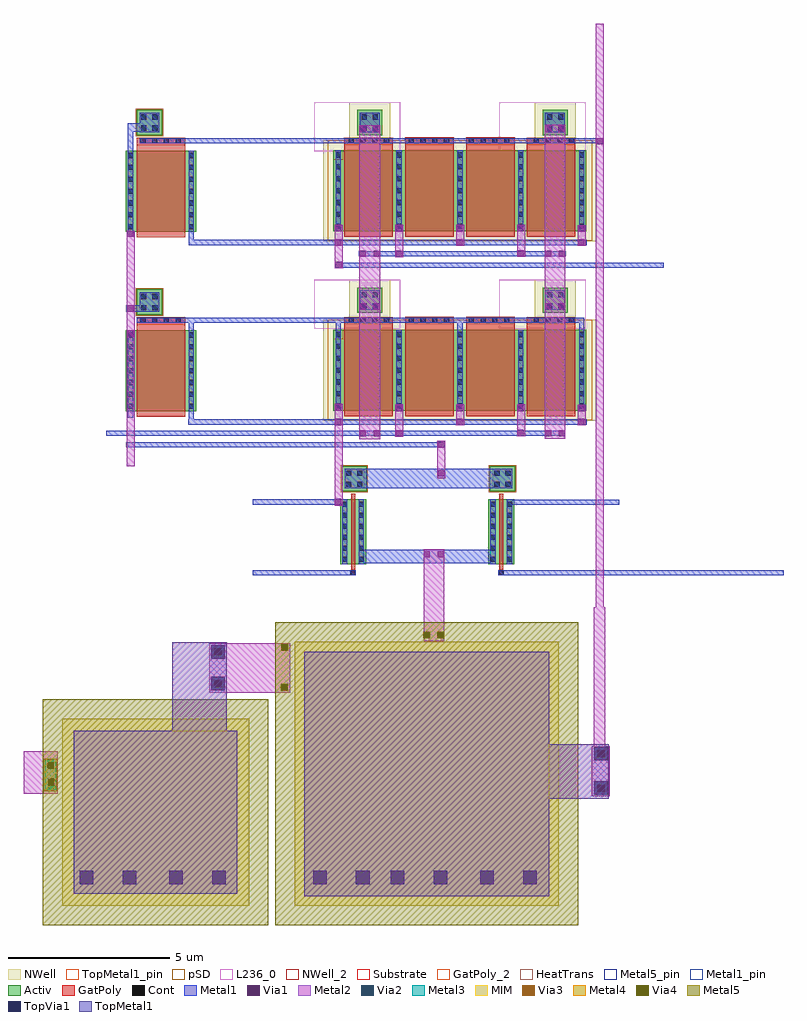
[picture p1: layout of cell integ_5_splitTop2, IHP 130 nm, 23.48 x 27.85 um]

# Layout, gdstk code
from math import pi, radians
import gdstk
lib = gdstk.Library(unit=1e-6, precision=1e-09)
def R(c, l, rs):  # rectangles x0, y0, x1, y1
    for r in rs: c.add(gdstk.rectangle(r[:2], r[2:], *l))
def A(c, l, x, y, w, h, nx, ny, dx, dy):  # array of equal rectangles
    R(c, l, [(x+i*dx, y+j*dy, x+i*dx+w, y+j*dy+h) for i in range(nx) for j in range(ny)])
def P(c, l, *ps):  # polygons
    for p in ps: c.add(gdstk.Polygon(p, *l))
Activ = (1, 0)
GatPoly = (5, 0)
GatPoly_2 = (5, 2)
Cont = (6, 0)
Metal1 = (8, 0)
Metal1_pin = (8, 2)
Metal2 = (10, 0)
pSD = (14, 0)
Via1 = (19, 0)
Via2 = (29, 0)
Metal3 = (30, 0)
NWell = (31, 0)
NWell_2 = (31, 2)
MIM = (36, 0)
Substrate = (40, 0)
Via3 = (49, 0)
Metal4 = (50, 0)
HeatTrans = (51, 0)
Via4 = (66, 0)
Metal5 = (67, 0)
Metal5_pin = (67, 2)
TopVia1 = (125, 0)
TopMetal1 = (126, 0)
TopMetal1_pin = (126, 2)
L236_0 = (236, 0)

ptap = lib.new_cell('ptap')
R(ptap, Activ, [(0,0,0.78,0.78)])
R(ptap, Cont, [(0.14,0.14,0.3,0.3), (0.48,0.14,0.64,0.3), (0.14,0.48,0.3,0.64), (0.48,0.48,0.64,0.64)])
R(ptap, Metal1, [(0.09,0.09,0.69,0.69)])
R(ptap, Metal1_pin, [(0.09,0.09,0.69,0.69)])
R(ptap, pSD, [(-0.03,-0.03,0.81,0.81)])

integ_5_split3 = lib.new_cell('integ_5_split3')
A(integ_5_split3, Activ, 0.029, 0.01, 0.3, 0.3, 5, 2, 1.88, 5.546)
R(integ_5_split3, Activ, [(0.605,-1.235,1.385,-0.455), (6.331,-1.235,7.111,-0.455), (0.029,0.01,7.849,2.51), (12.087,0.026,12.387,0.326), (12.087,0.026,14.267,2.526), (13.967,0.026,14.267,0.326), (0.605,4.255,1.385,5.035), (6.331,4.255,7.111,5.035), (0.029,5.556,7.849,8.056), (12.087,5.572,12.387,5.872), (12.087,5.572,14.267,8.072), (13.967,5.572,14.267,5.872)])
R(integ_5_split3, GatPoly, [(2.249,-0.385,3.749,2.69), (4.129,-0.382,5.629,2.69), (0.369,-0.38,1.869,2.69), (6.009,-0.379,7.509,2.69), (12.427,-0.378,13.927,2.706), (0.369,-0.17,1.869,2.69), (0.369,-0.17,1.869,2.69), (2.249,5.161,3.749,8.236), (4.129,5.164,5.629,8.236), (0.369,5.166,1.869,8.236), (6.009,5.167,7.509,8.236), (12.427,5.168,13.927,8.252), (0.369,5.376,1.869,8.236), (0.369,5.376,1.869,8.236)])
R(integ_5_split3, GatPoly_2, [(12.427,-0.154,13.927,2.706), (12.427,-0.154,13.927,2.706), (12.427,5.392,13.927,8.252), (12.427,5.392,13.927,8.252)])
A(integ_5_split3, Cont, 0.099, 0.08, 0.16, 0.16, 5, 3, 1.88, 0.365)
A(integ_5_split3, Cont, 12.157, 0.096, 0.16, 0.16, 1, 3, 0, 0.365)
A(integ_5_split3, Cont, 14.037, 0.096, 0.16, 0.16, 1, 3, 0, 0.365)
A(integ_5_split3, Cont, 0.099, 1.18, 0.16, 0.16, 5, 3, 1.88, 0.365)
A(integ_5_split3, Cont, 12.157, 1.196, 0.16, 0.16, 1, 3, 0, 0.365)
A(integ_5_split3, Cont, 14.037, 1.196, 0.16, 0.16, 1, 3, 0, 0.365)
A(integ_5_split3, Cont, 0.099, 2.28, 0.16, 0.16, 5, 2, 1.88, 3.346)
A(integ_5_split3, Cont, 12.157, 5.642, 0.16, 0.16, 1, 3, 0, 0.365)
A(integ_5_split3, Cont, 14.037, 5.642, 0.16, 0.16, 1, 3, 0, 0.365)
A(integ_5_split3, Cont, 0.099, 5.991, 0.16, 0.16, 5, 2, 1.88, 0.365)
A(integ_5_split3, Cont, 0.099, 6.726, 0.16, 0.16, 5, 3, 1.88, 0.365)
A(integ_5_split3, Cont, 12.157, 6.742, 0.16, 0.16, 1, 3, 0, 0.365)
A(integ_5_split3, Cont, 14.037, 6.742, 0.16, 0.16, 1, 3, 0, 0.365)
A(integ_5_split3, Cont, 0.099, 7.826, 0.16, 0.16, 5, 1, 1.88, 0)
R(integ_5_split3, Cont, [(0.745,-1.095,0.905,-0.935), (1.085,-1.095,1.245,-0.935), (6.471,-1.095,6.631,-0.935), (6.811,-1.095,6.971,-0.935), (0.745,-0.755,0.905,-0.595), (1.085,-0.755,1.245,-0.595), (6.471,-0.755,6.631,-0.595), (6.811,-0.755,6.971,-0.595), (12.562,-0.36,12.722,-0.2), (12.927,-0.36,13.087,-0.2), (13.287,-0.36,13.447,-0.2), (13.652,-0.36,13.812,-0.2), (0.413,-0.358,0.573,-0.198), (0.778,-0.358,0.938,-0.198), (1.138,-0.358,1.298,-0.198), (1.503,-0.358,1.663,-0.198), (2.414,-0.358,2.574,-0.198), (2.779,-0.358,2.939,-0.198), (3.139,-0.358,3.299,-0.198), (3.504,-0.358,3.664,-0.198), (4.275,-0.358,4.435,-0.198), (4.64,-0.358,4.8,-0.198), (5,-0.358,5.16,-0.198), (5.365,-0.358,5.525,-0.198), (6.126,-0.358,6.286,-0.198), (6.491,-0.358,6.651,-0.198), (6.851,-0.358,7.011,-0.198), (7.216,-0.358,7.376,-0.198), (12.157,2.296,12.317,2.456), (14.037,2.296,14.197,2.456), (0.745,4.395,0.905,4.555), (1.085,4.395,1.245,4.555), (6.471,4.395,6.631,4.555), (6.811,4.395,6.971,4.555), (0.745,4.735,0.905,4.895), (1.085,4.735,1.245,4.895), (6.471,4.735,6.631,4.895), (6.811,4.735,6.971,4.895), (12.562,5.186,12.722,5.346), (12.927,5.186,13.087,5.346), (13.287,5.186,13.447,5.346), (13.652,5.186,13.812,5.346), (0.413,5.188,0.573,5.348), (0.778,5.188,0.938,5.348), (1.138,5.188,1.298,5.348), (1.503,5.188,1.663,5.348), (2.414,5.188,2.574,5.348), (2.779,5.188,2.939,5.348), (3.139,5.188,3.299,5.348), (3.504,5.188,3.664,5.348), (4.275,5.188,4.435,5.348), (4.64,5.188,4.8,5.348), (5,5.188,5.16,5.348), (5.365,5.188,5.525,5.348), (6.126,5.188,6.286,5.348), (6.491,5.188,6.651,5.348), (6.851,5.188,7.011,5.348), (7.216,5.188,7.376,5.348), (12.157,7.842,12.317,8.002), (14.037,7.842,14.197,8.002)])
A(integ_5_split3, Metal1, 1.979, 0.01, 0.16, 2.5, 4, 1, 1.88, 0)
R(integ_5_split3, Metal1, [(0.695,-1.145,1.317,-0.545), (6.421,-1.145,7.041,-0.545), (-0.489,-0.358,13.826,-0.198), (0.099,0.01,0.259,2.51), (0.099,0.01,0.259,2.51), (0.099,0.01,0.259,2.51), (1.979,0.01,2.139,2.51), (1.979,0.01,2.139,2.51), (12.157,0.026,12.317,2.941), (0.021,2.785,12.317,2.945), (0.67,3.134,7.059,3.294), (0.695,4.345,1.317,4.945), (6.421,4.345,7.041,4.945), (13.827,4.798,14.246,5.004), (0.099,5.188,0.259,8.056), (0.103,5.188,13.919,5.348), (7.619,5.189,7.779,8.056), (12.157,5.196,12.317,8.487), (3.859,5.207,4.019,8.056), (0.099,5.556,0.259,8.056), (0.099,5.556,0.259,8.056), (1.979,5.556,2.139,8.056), (1.979,5.556,2.139,8.056), (1.979,5.556,2.139,8.056), (5.739,5.556,5.899,8.056), (14.036,5.572,14.197,8.281), (0.021,8.331,12.338,8.491), (0.695,8.68,14.872,8.84)])
P(integ_5_split3, Metal1, [(13.811,-0.819),(13.811,-0.565),(14.037,-0.565),(14.037,2.683),(14.197,2.683),(14.197,-0.819)])
R(integ_5_split3, Metal1_pin, [(0.695,-1.145,1.295,-0.545), (6.421,-1.145,7.021,-0.545), (12.157,0.026,12.317,2.526), (12.157,0.026,12.317,2.526), (14.037,0.026,14.197,2.526), (14.037,0.026,14.197,2.526), (0.695,4.345,1.295,4.945), (6.421,4.345,7.021,4.945), (12.157,5.572,12.317,8.072), (12.157,5.572,12.317,8.072), (14.037,5.572,14.197,8.072), (14.037,5.572,14.197,8.072)])
R(integ_5_split3, Metal2, [(-0.503,-3.894,-0.254,14.444), (0.689,-0.769,1.314,8.919), (6.407,-0.763,7.045,8.944), (1.924,2.314,2.172,3.306), (7.561,2.316,7.81,3.655), (3.807,2.32,4.055,2.964), (5.687,2.32,5.935,3.313), (0.044,2.325,0.292,2.968), (13.981,2.494,14.23,9.774), (7.561,7.844,7.81,10.994), (1.924,7.86,2.172,8.852), (3.807,7.866,4.055,8.505), (5.687,7.866,5.935,8.859), (0.044,7.871,0.292,8.507)])
R(integ_5_split3, pSD, [(-0.151,-0.29,8.029,2.81), (-0.151,5.256,8.029,8.356)])
R(integ_5_split3, Via1, [(0.698,-0.75,0.888,-0.56), (1.12,-0.75,1.31,-0.56), (6.422,-0.744,6.612,-0.554), (6.847,-0.744,7.037,-0.554), (-0.474,-0.363,-0.284,-0.173), (7.598,2.325,7.788,2.515), (1.961,2.333,2.151,2.523), (3.844,2.339,4.034,2.529), (5.724,2.339,5.914,2.529), (0.081,2.344,0.271,2.534), (14.018,2.503,14.208,2.693), (3.855,2.76,4.045,2.95), (0.092,2.765,0.282,2.955), (7.609,2.767,7.799,2.957), (1.972,3.107,2.162,3.297), (5.718,3.111,5.908,3.301), (0.695,3.114,0.885,3.304), (1.117,3.114,1.307,3.304), (6.412,3.118,6.602,3.308), (6.845,3.118,7.035,3.308), (0.698,4.74,0.888,4.93), (1.12,4.74,1.31,4.93), (6.422,4.746,6.612,4.936), (6.847,4.746,7.037,4.936), (14.02,4.808,14.21,4.998), (14.02,5.579,14.21,5.769), (7.598,7.871,7.788,8.061), (1.961,7.879,2.151,8.069), (3.844,7.885,4.034,8.075), (5.724,7.885,5.914,8.075), (0.081,7.89,0.271,8.08), (3.855,8.306,4.045,8.496), (0.092,8.311,0.282,8.501), (7.609,8.313,7.799,8.503), (1.972,8.653,2.162,8.843), (5.718,8.657,5.908,8.847), (0.695,8.662,0.885,8.852), (1.117,8.662,1.307,8.852), (6.412,8.663,6.602,8.853), (6.845,8.663,7.035,8.853)])
R(integ_5_split3, NWell, [(0.365,-1.475,1.625,-0.215), (6.091,-1.475,7.351,-0.215), (-0.281,-0.3,8.159,2.82), (0.365,4.015,1.625,5.275), (6.091,4.015,7.351,5.275), (-0.281,5.246,8.159,8.366)])
R(integ_5_split3, NWell_2, [(0.605,-1.235,1.385,-0.455), (6.331,-1.235,7.111,-0.455)])
R(integ_5_split3, Substrate, [(7.549,0.01,7.849,0.31), (7.549,0.01,7.849,0.31), (7.549,5.556,7.849,5.856), (7.549,5.556,7.849,5.856)])
A(integ_5_split3, HeatTrans, 0.369, -0.17, 1.5, 2.86, 4, 2, 1.88, 5.546)
R(integ_5_split3, HeatTrans, [(12.427,-0.154,13.927,2.706), (12.427,5.392,13.927,8.252)])
R(integ_5_split3, L236_0, [(0.051,-1.475,2.719,0.045), (5.777,-1.475,8.445,0.045), (0.051,4.015,2.719,5.535), (5.777,4.015,8.445,5.535)])
integ_5_split3.add(gdstk.Reference(ptap, (13.922,-0.457), rotation=pi))
integ_5_split3.add(gdstk.Reference(ptap, (13.922,5.094), rotation=pi))
integ_5_split3.add(gdstk.Label('pmos', (1.119,6.806), layer=63, texttype=0))
integ_5_split3.add(gdstk.Label('well', (1.385,5.035), layer=63, texttype=0))
integ_5_split3.add(gdstk.Label('well', (7.111,5.035), layer=63, texttype=0))
integ_5_split3.add(gdstk.Label('pmos', (1.119,1.26), layer=63, texttype=0))
integ_5_split3.add(gdstk.Label('well', (7.111,-0.455), layer=63, texttype=0))
integ_5_split3.add(gdstk.Label('well', (1.385,-0.455), layer=63, texttype=0))
integ_5_split3.add(gdstk.Label('[@instanceName]', (1.385,4.775), layer=236, texttype=1))
integ_5_split3.add(gdstk.Label('[@instanceName]', (7.111,4.775), layer=236, texttype=1))
integ_5_split3.add(gdstk.Label('[@instanceName]', (7.111,-0.715), layer=236, texttype=1))
integ_5_split3.add(gdstk.Label('[@instanceName]', (1.385,-0.715), layer=236, texttype=1))
integ_5_split3.add(gdstk.Label('vdda', (29.31,12.361), layer=8, texttype=25))
integ_5_split3.add(gdstk.Label('vout', (-1.702,3.553), layer=8, texttype=25))
integ_5_split3.add(gdstk.Label('pmos', (1.119,6.806), layer=51, texttype=0))
integ_5_split3.add(gdstk.Label('pmos', (2.999,6.806), layer=51, texttype=0))
integ_5_split3.add(gdstk.Label('pmos', (4.879,6.806), layer=51, texttype=0))
integ_5_split3.add(gdstk.Label('pmos', (6.759,6.806), layer=51, texttype=0))
integ_5_split3.add(gdstk.Label('nmos', (13.177,6.822), layer=51, texttype=0))
integ_5_split3.add(gdstk.Label('pmos', (1.119,1.26), layer=51, texttype=0))
integ_5_split3.add(gdstk.Label('pmos', (2.999,1.26), layer=51, texttype=0))
integ_5_split3.add(gdstk.Label('pmos', (4.879,1.26), layer=51, texttype=0))
integ_5_split3.add(gdstk.Label('pmos', (6.759,1.26), layer=51, texttype=0))
integ_5_split3.add(gdstk.Label('nmos', (13.177,1.276), layer=51, texttype=0))

integ_5_split4 = lib.new_cell('integ_5_split4')
R(integ_5_split4, Activ, [(0.443,5.226,1.253,7.226), (5.019,5.226,5.829,7.226), (0.443,6.926,0.743,7.226), (0.953,6.926,1.253,7.226), (5.019,6.926,5.319,7.226), (5.529,6.926,5.829,7.226), (0.494,7.478,1.274,8.258), (5.07,7.478,5.85,8.258)])
R(integ_5_split4, GatPoly, [(0.783,4.877,0.913,7.406), (5.359,4.878,5.489,7.406)])
R(integ_5_split4, GatPoly_2, [(0.783,5.046,0.913,7.406), (0.783,5.046,0.913,7.406), (5.359,5.046,5.489,7.406), (5.359,5.046,5.489,7.406)])
A(integ_5_split4, Cont, 0.513, 5.296, 0.16, 0.16, 1, 6, 0, 0.34)
A(integ_5_split4, Cont, 1.023, 5.296, 0.16, 0.16, 1, 6, 0, 0.34)
A(integ_5_split4, Cont, 5.089, 5.296, 0.16, 0.16, 1, 6, 0, 0.34)
A(integ_5_split4, Cont, 5.599, 5.296, 0.16, 0.16, 1, 6, 0, 0.34)
R(integ_5_split4, Cont, [(5.344,4.876,5.504,5.036), (0.763,4.883,0.923,5.043), (0.634,7.618,0.794,7.778), (0.974,7.618,1.134,7.778), (5.21,7.618,5.37,7.778), (5.55,7.618,5.71,7.778), (0.634,7.958,0.794,8.118), (0.974,7.958,1.134,8.118), (5.21,7.958,5.37,8.118), (5.55,7.958,5.71,8.118)])
R(integ_5_split4, Metal1, [(5.334,4.876,14.144,5.036), (-2.249,4.883,0.933,5.043), (0.513,5.226,0.673,7.226), (1.023,5.226,1.183,7.226), (5.089,5.226,5.249,7.226), (5.599,5.226,5.759,7.226), (1.062,5.261,5.141,5.674), (5.604,7.054,9.07,7.214), (-2.256,7.066,0.667,7.226), (0.584,7.568,1.184,8.168), (1.12,7.568,5.76,8.168)])
R(integ_5_split4, Metal1_pin, [(0.513,5.226,0.673,7.226), (0.513,5.226,0.673,7.226), (1.023,5.226,1.183,7.226), (1.023,5.226,1.183,7.226), (5.089,5.226,5.249,7.226), (5.089,5.226,5.249,7.226), (5.599,5.226,5.759,7.226), (5.599,5.226,5.759,7.226), (0.584,7.568,1.184,8.168), (5.16,7.568,5.76,8.168)])
R(integ_5_split4, Metal2, [(8.223,-1.943,8.779,-0.404), (-9.336,-1.862,-8.284,-0.558), (8.401,-1.796,8.61,-1.592), (8.401,-0.733,8.61,-0.529), (-3.605,1.253,-1.09,2.788), (-1.389,1.315,-1.18,1.519), (-3.427,1.43,-3.218,1.634), (-3.427,2.411,-3.218,2.615), (-1.372,2.55,-1.163,2.754), (3.025,2.842,3.663,5.682), (3.013,2.933,3.222,3.137), (3.456,2.933,3.665,3.137), (3.441,7.872,3.689,9.037)])
R(integ_5_split4, pSD, [(0.464,7.448,1.304,8.288), (5.04,7.448,5.88,8.288)])
R(integ_5_split4, Via1, [(8.411,-1.787,8.601,-1.597), (8.411,-0.724,8.601,-0.534), (-1.379,1.324,-1.189,1.514), (-3.417,1.439,-3.227,1.629), (-3.417,2.42,-3.227,2.61), (-1.362,2.559,-1.172,2.749), (3.03,5.434,3.22,5.624), (3.463,5.434,3.653,5.624), (3.478,7.943,3.668,8.133), (3.472,8.818,3.662,9.008)])
R(integ_5_split4, Via2, [(8.411,-1.787,8.601,-1.597), (-8.576,-1.719,-8.386,-1.529), (-8.586,-0.989,-8.396,-0.799), (8.411,-0.724,8.601,-0.534), (-1.379,1.324,-1.189,1.514), (-3.417,1.439,-3.227,1.629), (-3.417,2.42,-3.227,2.61), (-1.362,2.559,-1.172,2.749), (3.023,2.942,3.213,3.132), (3.466,2.942,3.656,3.132)])
R(integ_5_split4, Metal3, [(8.403,-1.796,8.611,-1.59), (-8.665,-1.743,-8.321,-0.79), (8.403,-0.733,8.611,-0.527), (-1.387,1.315,-1.179,1.521), (-3.425,1.43,-3.217,1.636), (-3.425,2.411,-3.217,2.617), (-1.37,2.55,-1.162,2.756), (3.015,2.933,3.223,3.139), (3.458,2.933,3.666,3.139)])
R(integ_5_split4, MIM, [(-0.954,-5.329,7.206,2.831), (-8.139,-5.324,-2.369,0.446)])
R(integ_5_split4, Via3, [(8.411,-1.787,8.601,-1.597), (8.411,-0.724,8.601,-0.534), (-1.379,1.324,-1.189,1.514), (-3.417,1.439,-3.227,1.629), (-3.417,2.42,-3.227,2.61), (-1.362,2.559,-1.172,2.749), (3.023,2.942,3.213,3.132), (3.466,2.942,3.656,3.132)])
R(integ_5_split4, Metal4, [(8.396,-1.797,8.614,-1.587), (-8.707,-1.791,-8.3,-0.779), (8.396,-0.734,8.614,-0.524), (-1.394,1.314,-1.176,1.524), (-3.432,1.429,-3.214,1.639), (-3.432,2.41,-3.214,2.62), (-1.377,2.549,-1.159,2.759), (3.008,2.932,3.226,3.142), (3.451,2.932,3.669,3.142)])
R(integ_5_split4, HeatTrans, [(0.783,5.046,0.913,7.406), (5.359,5.046,5.489,7.406)])
R(integ_5_split4, Via4, [(8.411,-1.787,8.601,-1.597), (-8.576,-1.601,-8.386,-1.411), (-8.586,-1.088,-8.396,-0.898), (8.411,-0.724,8.601,-0.534), (-1.379,1.324,-1.189,1.514), (-3.417,1.439,-3.227,1.629), (-3.417,2.42,-3.227,2.61), (-1.362,2.559,-1.172,2.749), (3.023,2.942,3.213,3.132), (3.466,2.942,3.656,3.132)])
R(integ_5_split4, Metal5, [(-1.554,-5.929,7.806,3.431), (-8.739,-5.924,-1.769,1.046), (8.391,-1.802,8.619,-1.582), (8.391,-0.739,8.619,-0.519), (-3.437,1.424,-3.209,1.644), (-3.437,2.405,-3.209,2.625)])
R(integ_5_split4, Metal5_pin, [(-1.554,-5.929,7.806,3.431), (-8.739,-5.924,-1.769,1.046)])
R(integ_5_split4, TopVia1, [(-3.512,-4.67,-3.092,-4.25), (6.102,-4.662,6.522,-4.242), (8.296,-1.902,8.716,-1.482), (8.296,-0.839,8.716,-0.419), (-3.532,1.324,-3.112,1.744), (-3.532,2.305,-3.112,2.725)])
R(integ_5_split4, TopMetal1, [(-0.659,-5.034,6.901,2.526), (5.839,-2.017,8.742,-0.34)])
P(integ_5_split4, TopMetal1, [(-7.779,-4.964),(-7.779,0.076),(-4.745,0.076),(-4.745,2.813),(-3.062,2.813),(-3.062,0.076),(-2.739,0.076),(-2.739,-4.964)])
R(integ_5_split4, TopMetal1_pin, [(-0.659,-5.034,6.901,2.526), (-7.779,-4.964,-2.739,0.076)])
integ_5_split4.add(gdstk.Label('vmid', (-2.186,7.179), layer=8, texttype=25))
integ_5_split4.add(gdstk.Label('pse', (-2.21,4.994), layer=8, texttype=25))
integ_5_split4.add(gdstk.Label('pr', (14.031,4.966), layer=8, texttype=25))
integ_5_split4.add(gdstk.Label('SOURCE', (5.137,5.354), layer=8, texttype=25))
integ_5_split4.add(gdstk.Label('DRAIN', (1.086,5.315), layer=8, texttype=25))
integ_5_split4.add(gdstk.Label('vx1', (-9.473,-7.164), layer=8, texttype=25))
integ_5_split4.add(gdstk.Label('nmos', (5.424,6.226), layer=51, texttype=0))
integ_5_split4.add(gdstk.Label('nmos', (0.848,6.226), layer=51, texttype=0))

integ_5_splittop2 = lib.new_cell('integ_5_splitTop2')
R(integ_5_splittop2, Metal1, [(-11.321,-7.428,-1.474,-7.268), (-4.864,-1.888,5.288,-1.728)])
P(integ_5_splittop2, Metal2, [(3.124,-16.755),(3.124,-12.692),(3.124,-12.375),(3.283,-12.375),(3.475,-12.375),(3.475,-16.755)])
R(integ_5_splittop2, Via1, [(-4.868,-9.216,-4.678,-9.026), (-4.844,-1.893,-4.654,-1.703)])
R(integ_5_splittop2, TopVia1, [(-12.755,-20.937,-12.335,-20.517), (-11.429,-20.937,-11.009,-20.517), (-9.993,-20.937,-9.573,-20.517), (-5.546,-20.929,-5.126,-20.509), (-4.22,-20.929,-3.8,-20.509), (-3.141,-20.929,-2.721,-20.509), (-1.815,-20.929,-1.395,-20.509), (-0.379,-20.929,0.041,-20.509)])
integ_5_splittop2.add(gdstk.Reference(integ_5_split3, (2.931,1.759), rotation=pi))
integ_5_splittop2.add(gdstk.Reference(integ_5_split4, (-5.155,-16.267)))

lib.write_gds('integ_5_splitTop2.gds')
